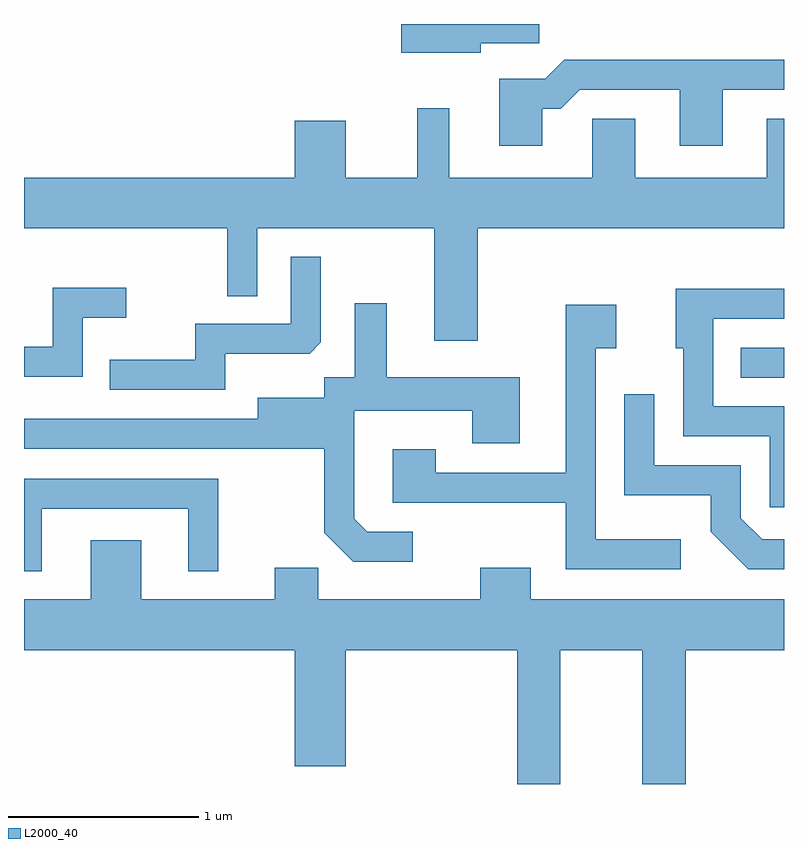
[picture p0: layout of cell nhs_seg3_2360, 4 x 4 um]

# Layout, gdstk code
import gdstk
lib = gdstk.Library(unit=1e-6, precision=1e-09)
def R(c, l, rs):  # rectangles x0, y0, x1, y1
    for r in rs: c.add(gdstk.rectangle(r[:2], r[2:], *l))
def P(c, l, *ps):  # polygons
    for p in ps: c.add(gdstk.Polygon(p, *l))
L2000_40 = (2000, 40)

nhs_seg3_2360 = lib.new_cell('nhs_seg3_2360')
R(nhs_seg3_2360, L2000_40, [(257.383,1214.031,257.611,1214.189)])
P(nhs_seg3_2360, L2000_40, [(256.014,1215.791),(256.324,1215.791),(256.324,1215.892),(255.596,1215.892),(255.596,1215.741),(256.014,1215.741)],
  [(256.339,1215.446),(256.437,1215.446),(256.537,1215.546),(257.061,1215.546),(257.061,1215.251),(257.289,1215.251),(257.289,1215.546),(257.611,1215.546),(257.611,1215.704),(256.454,1215.704),(256.354,1215.604),(256.111,1215.604),(256.111,1215.251),(256.339,1215.251)],
  [(255.999,1214.816),(257.611,1214.816),(257.611,1215.394),(257.521,1215.394),(257.521,1215.084),(256.829,1215.084),(256.829,1215.394),(256.601,1215.394),(256.601,1215.084),(255.849,1215.084),(255.849,1215.448),(255.681,1215.448),(255.681,1215.084),(255.304,1215.084),(255.304,1215.384),(255.036,1215.384),(255.036,1215.084),(253.611,1215.084),(253.611,1214.816),(254.681,1214.816),(254.681,1214.458),(254.839,1214.458),(254.839,1214.816),(255.771,1214.816),(255.771,1214.226),(255.999,1214.226)],
  [(254.669,1214.156),(255.114,1214.156),(255.174,1214.217),(255.174,1214.668),(255.016,1214.668),(255.016,1214.314),(254.511,1214.314),(254.511,1214.124),(254.063,1214.124),(254.063,1213.966),(254.669,1213.966)],
  [(253.919,1214.346),(254.148,1214.346),(254.148,1214.504),(253.761,1214.504),(253.761,1214.194),(253.611,1214.194),(253.611,1214.036),(253.919,1214.036)],
  [(257.611,1213.879),(257.239,1213.879),(257.239,1214.341),(257.611,1214.341),(257.611,1214.499),(257.041,1214.499),(257.041,1214.186),(257.081,1214.186),(257.081,1213.721),(257.536,1213.721),(257.536,1213.348),(257.611,1213.348)],
  [(255.658,1213.219),(255.417,1213.219),(255.349,1213.287),(255.349,1213.856),(255.971,1213.856),(255.971,1213.686),(256.219,1213.686),(256.219,1214.034),(255.519,1214.034),(255.519,1214.423),(255.351,1214.423),(255.351,1214.034),(255.191,1214.034),(255.191,1213.924),(254.841,1213.924),(254.841,1213.814),(253.611,1213.814),(253.611,1213.656),(255.191,1213.656),(255.191,1213.214),(255.344,1213.061),(255.658,1213.061)],
  [(257.068,1213.179),(256.619,1213.179),(256.619,1214.186),(256.729,1214.186),(256.729,1214.414),(256.461,1214.414),(256.461,1213.529),(255.779,1213.529),(255.779,1213.654),(255.551,1213.654),(255.551,1213.371),(256.461,1213.371),(256.461,1213.021),(257.068,1213.021)],
  [(257.611,1213.179),(257.497,1213.179),(257.384,1213.292),(257.384,1213.569),(256.929,1213.569),(256.929,1213.943),(256.771,1213.943),(256.771,1213.411),(257.226,1213.411),(257.226,1213.219),(257.424,1213.021),(257.611,1213.021)],
  [(253.704,1213.341),(254.476,1213.341),(254.476,1213.013),(254.634,1213.013),(254.634,1213.499),(253.611,1213.499),(253.611,1213.013),(253.704,1213.013)],
  [(256.434,1212.596),(256.866,1212.596),(256.866,1211.892),(257.094,1211.892),(257.094,1212.596),(257.611,1212.596),(257.611,1212.864),(256.279,1212.864),(256.279,1213.029),(256.011,1213.029),(256.011,1212.864),(255.159,1212.864),(255.159,1213.029),(254.931,1213.029),(254.931,1212.864),(254.229,1212.864),(254.229,1213.174),(253.961,1213.174),(253.961,1212.864),(253.611,1212.864),(253.611,1212.596),(255.036,1212.596),(255.036,1211.986),(255.304,1211.986),(255.304,1212.596),(256.206,1212.596),(256.206,1211.892),(256.434,1211.892)])

lib.write_gds('nhs_seg3_2360.gds')
